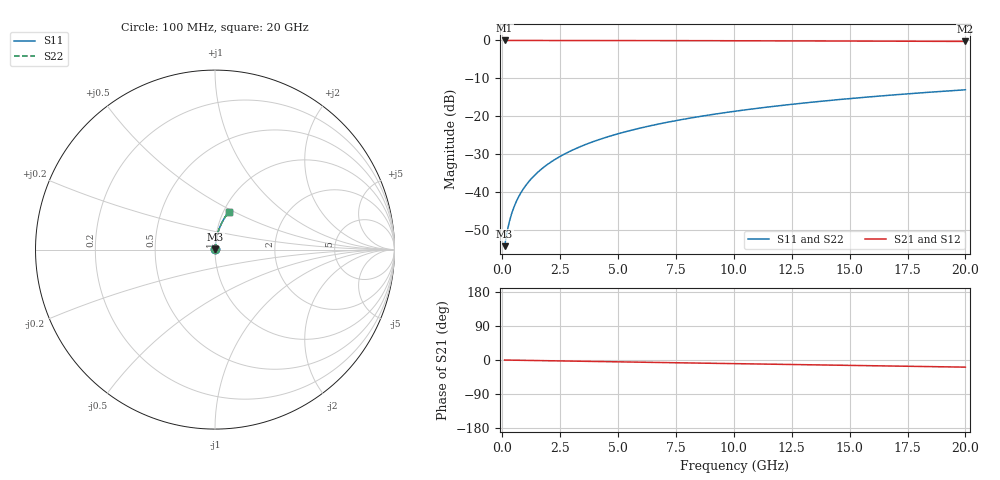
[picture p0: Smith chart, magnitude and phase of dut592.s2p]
! Touchstone file exported from HFSS 2026.1.0
!  File:  C:/ffzhzh/LocalFiles/Ansys_Project_Files/temp_train_TMRDL_592_1783008458_4048.aedt
!  Generated:  12:09:01 AM Jul  3, 2026
!  Design:  TMRDL
!  Project:  temp_train_TMRDL_592_1783008458_4048
! Variables:
!  h_bsmrdl = 2um
!  h_ox = 20um
!  h_rdl = 5um
!  h_sub = 80um
!  h_tmrdl = 2.87um
!  h_tsv = 80um
!  h_via = 3um
!  l_bsmrdl = 300um
!  l_sub = 599.42um
!  l_tmrdl = 199.42um
!  m_sub = 200um
!  pitch = 56.52um
!  r_tsv = 6um
!  s_tmrdl = 10um
!  w_bsmrdl = 18um
!  w_sub = 500um
!  w_tmrdl = 19.96um
!  x_tsv_center1 = 209.4um
!  x_tsv_center2 = 527.4um
!  x_tsv_center3 = 746.78um
!  x_tsv_center4 = 1064.78um
!  x_tsv_center5 = 1284.16um
!  x_tsv_center6 = 1602.16um
# GHz S MA R 50.000000
! Terminal data exported
! Port[1] = TM_RDL1_1_T1
! Port[2] = TM_RDL1_1_T2
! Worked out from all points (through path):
!   200 points, 100 MHz to 20 GHz, reference 50 ohm
!   highest |S21| = -0.01 dB at 100 MHz (marker M1); lowest = -0.3 dB at 20 GHz (marker M2)
!   group delay of S21, straight-line fit = 2.62 ps
!   lowest |S11| = -54.2 dB at 100 MHz (marker M3), VSWR 1.00, Z = 50.1 + j0.126 ohm
!   |S11| at or under -10 dB: start of sweep to end of sweep
!   |S22| runs from -54.2 to -13.0 dB; largest |S21 - S12| = 3.4e-15
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0.1  0.001951 39.9  0.9985 -0.1  0.9985 -0.1  0.001951 39.9
! Gamma 0 0 0 0
! Port Impedance 50 0 50 0
0.2  0.002927 58.3  0.9985 -0.2  0.9985 -0.2  0.002927 58.3
0.3  0.004039 66.7  0.9984 -0.3  0.9984 -0.3  0.004039 66.7
0.4  0.005185 71.4  0.9984 -0.4  0.9984 -0.4  0.005185 71.4
0.5  0.006339 74.3  0.9983 -0.5  0.9983 -0.5  0.006339 74.3
0.6  0.007495 76.3  0.9983 -0.6  0.9983 -0.6  0.007495 76.3
0.8  0.009812 78.9  0.9982 -0.8  0.9982 -0.8  0.009812 78.9
1.1  0.0133 81.1  0.9981 -1.1  0.9981 -1.1  0.0133 81.1
1.5  0.01797 82.6  0.998 -1.5  0.998 -1.5  0.01797 82.6
1.8  0.02149 83.2  0.9979 -1.8  0.9979 -1.8  0.02149 83.2
2.1  0.02501 83.5  0.9978 -2.0  0.9978 -2.0  0.02501 83.5
2.7  0.03205 83.8  0.9975 -2.6  0.9975 -2.6  0.03205 83.8
3.5  0.04144 83.7  0.997 -3.4  0.997 -3.4  0.04144 83.7
4.2  0.04963 83.4  0.9966 -4.1  0.9966 -4.1  0.04963 83.4
5  0.05896 82.9  0.9959 -4.8  0.9959 -4.8  0.05896 82.9
5.9  0.06941 82.2  0.9951 -5.7  0.9951 -5.7  0.06941 82.2
6.8  0.0798 81.5  0.9941 -6.6  0.9941 -6.6  0.0798 81.5
8.3  0.09697 80.2  0.9923 -8.0  0.9923 -8.0  0.09697 80.2
10.1  0.1173 78.7  0.9898 -9.7  0.9898 -9.7  0.1173 78.7
13.4  0.1539 75.7  0.9841 -12.8  0.9841 -12.8  0.1539 75.7
16.7  0.1894 72.8  0.9774 -15.8  0.9774 -15.8  0.1894 72.8
20  0.2237 69.9  0.9697 -18.8  0.9697 -18.8  0.2237 69.9
